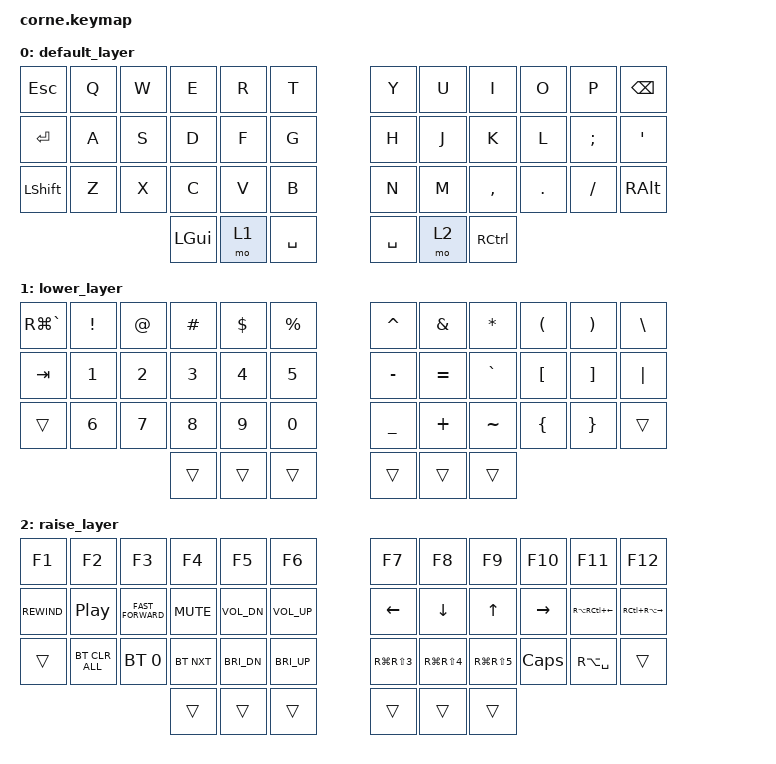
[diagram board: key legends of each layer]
/*
 * Copyright (c) 2020 The ZMK Contributors
 *
 * SPDX-License-Identifier: MIT
 */

#include <behaviors.dtsi>
#include <dt-bindings/zmk/bt.h>
#include <dt-bindings/zmk/keys.h>

/ {
    keymap {
        compatible = "zmk,keymap";

        default_layer {
            // -----------------------------------------------------------------------------------------
            // |  TAB |  Q  |  W  |  E  |  R  |  T  |   |  Y  |  U   |  I  |  O  |  P  | BKSP |
            // | CTRL |  A  |  S  |  D  |  F  |  G  |   |  H  |  J   |  K  |  L  |  ;  |  '   |
            // | SHFT |  Z  |  X  |  C  |  V  |  B  |   |  N  |  M   |  ,  |  .  |  /  | ESC  |
            //                    | GUI | LWR | SPC |   | ENT | RSE  | ALT |

            bindings = <
&kp ESCAPE  &kp Q  &kp W  &kp E         &kp R  &kp T        &kp Y      &kp U  &kp I              &kp O    &kp P     &kp BSPC
&kp RET     &kp A  &kp S  &kp D         &kp F  &kp G        &kp H      &kp J  &kp K              &kp L    &kp SEMI  &kp SQT
&kp LSHFT   &kp Z  &kp X  &kp C         &kp V  &kp B        &kp N      &kp M  &kp COMMA          &kp DOT  &kp FSLH  &kp RALT
                          &kp LEFT_GUI  &mo 1  &kp SPACE    &kp SPACE  &mo 2  &kp RIGHT_CONTROL
            >;
        };

        lower_layer {
            // -----------------------------------------------------------------------------------------
            // |  TAB |  1  |  2  |  3  |  4  |  5  |   |  6  |  7  |  8  |  9  |  0  | BKSP |
            // | BTCLR| BT1 | BT2 | BT3 | BT4 | BT5 |   | LFT | DWN |  UP | RGT |     |      |
            // | SHFT |     |     |     |     |     |   |     |     |     |     |     |      |
            //                    | GUI |     | SPC |   | ENT |     | ALT |

            bindings = <
&kp RG(GRAVE)  &kp EXCL      &kp AT        &kp HASH      &kp DLLR      &kp PRCNT    &kp CARET  &kp AMPS   &kp STAR   &kp LPAR          &kp RPAR           &kp BACKSLASH
&kp TAB        &kp NUMBER_1  &kp NUMBER_2  &kp NUMBER_3  &kp NUMBER_4  &kp N5       &kp MINUS  &kp EQUAL  &kp GRAVE  &kp LEFT_BRACKET  &kp RIGHT_BRACKET  &kp PIPE
&trans         &kp NUMBER_6  &kp N7        &kp N8        &kp N9        &kp N0       &kp UNDER  &kp PLUS   &kp TILDE  &kp LBRC          &kp RBRC           &trans
                                           &trans        &trans        &trans       &trans     &trans     &trans
            >;
        };

        raise_layer {
            // -----------------------------------------------------------------------------------------
            // |  TAB |  !  |  @  |  #  |  $  |  %  |   |  ^  |  &  |  *  |  (  |  )  | BKSP |
            // | CTRL |     |     |     |     |     |   |  -  |  =  |  [  |  ]  |  \  |  `   |
            // | SHFT |     |     |     |     |     |   |  _  |  +  |  {  |  }  | "|" |  ~   |
            //                    | GUI |     | SPC |   | ENT |     | ALT |

            bindings = <
&kp F1        &kp F2            &kp F3              &kp F4      &kp F5        &kp F6          &kp F7                &kp F8                &kp F9          &kp F10          &kp F11                 &kp F12
&kp C_REWIND  &kp C_PLAY_PAUSE  &kp C_FAST_FORWARD  &kp C_MUTE  &kp C_VOL_DN  &kp C_VOL_UP    &kp LEFT_ARROW        &kp DOWN_ARROW        &kp UP_ARROW    &kp RIGHT_ARROW  &kp RA(RC(LEFT_ARROW))  &kp RC(RA(RIGHT_ARROW))
&trans        &bt BT_CLR_ALL    &bt BT_SEL 0        &bt BT_NXT  &kp C_BRI_DN  &kp C_BRI_UP    &kp RG(RS(NUMBER_3))  &kp RG(RS(NUMBER_4))  &kp RG(RS(N5))  &kp CAPSLOCK     &kp RA(SPACE)           &trans
                                                    &trans      &trans        &trans          &trans                &trans                &trans
            >;
        };
    };
};
